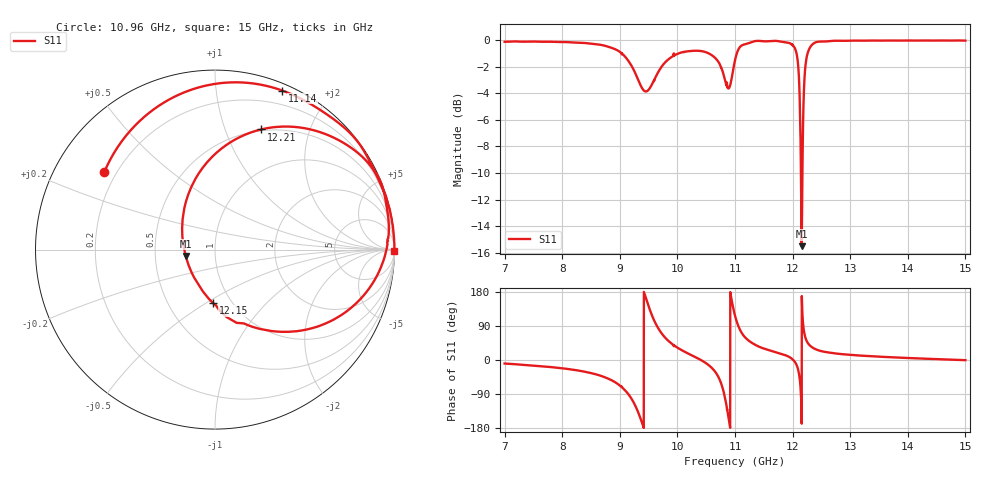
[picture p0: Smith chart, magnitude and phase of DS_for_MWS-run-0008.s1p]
! TOUCHSTONE file generated by CST DESIGN STUDIO
! Date and time: Mon Feb 10 16:41:37 2025
! Project name: C:\Work\MatlabApps\UnitCellType2OptimizationMatlab\CST\unitcell.cst
! Tree item: Tasks\Sweep1\SPara1\S-Parameters
! Header version: 2024
! Port assignment regex: !\s*Touchstone port\s*([0-9]+)\s*=\s*(CST MWS port|CST DES external port|CST DES block port)\s*(.+)\s* \(\"(.*)\"\)(\s*mode\s*([0-9]+))?.*
! Touchstone port assignment:
! Touchstone port 1 = CST DES external port 1 ("")
# GHz S MA R 50
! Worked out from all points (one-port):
!   4001 points, 7 GHz to 15 GHz, reference 50 ohm
!   lowest |S11| = -15.5 dB at 12.16 GHz (marker M1), VSWR 1.40, Z = 35.8 - j2.57 ohm
!   |S11| at or under -10 dB: 12.14367 GHz to 12.17028 GHz (26.61 MHz wide, 0.219 % of centre)
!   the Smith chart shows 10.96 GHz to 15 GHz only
!   S11 on the Smith chart (normalised r, x): 10.96 GHz: 0.15, +0.31; 11.14 GHz: 0.06, +1.51; 12.15 GHz: 0.82, -0.53; 12.21 GHz: 0.49, +1.34; 15 GHz: open
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7  0.9887 -9.3
8  0.9864 -21.8
8.638  0.965 -40.1
9  0.9061 -67.3
9.232  0.7817 -109.7
9.42  0.6468 178.8
9.536  0.6692 126.6
9.64  0.741 91.1
10  0.8902 32.6
10.554  0.8914 -15.0
10.694  0.8409 -39.9
10.79  0.7581 -76.6
10.89  0.6593 -154.2
10.958  0.7529 145.0
11  0.8416 116.9
11.136  0.9621 67.0
11.412  0.9965 35.4
12  0.9621 1.8
12.078  0.8711 -16.5
12.116  0.6754 -41.3
12.146  0.2974 -92.3
12.158  0.1675 -168.0
12.206  0.7173 69.0
12.27  0.908 43.5
12.378  0.9788 30.0
13  0.9986 13.6
14  0.9995 5.3
15  0.9986 -0.5
